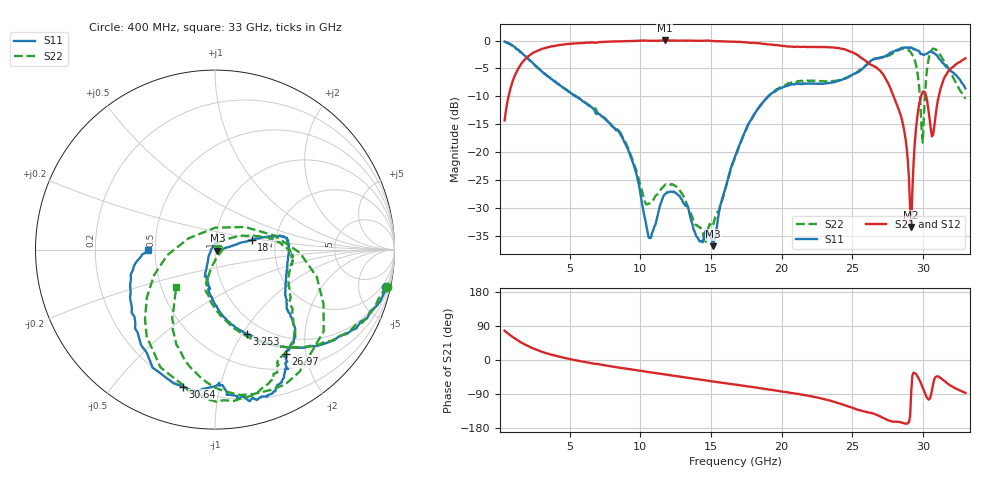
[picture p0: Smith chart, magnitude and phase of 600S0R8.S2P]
!  American Technical Ceramics  Date:  10/26/00
!  One Norden Lane
!  Huntington Station,  NY.  11746-2102
!  Tel:  (631) 622-4700  Fax:  (631) 622-4748
!  Part Number  600S0R8AW  Mounting Orientation: Horizontal
!  Description: Ultra Low ESR Microwave capacitors
!  Application: Coupling, Bypass, Tuning, DC Block
!  Filters, Matching
# GHZ S DB R 50
! Freq  |S11|  S11 Ph  |S21|  S21 Ph  |S12|  S12 Ph  |S22|  S22 Ph
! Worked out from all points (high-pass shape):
!   401 points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, 400 MHz to 33 GHz, reference 50 ohm
!   highest |S21| = 0.01 dB at 11.73 GHz (marker M1); lowest = -33.4 dB at 29.17 GHz (marker M2)
!   |S21| within 3 dB of the highest: 2.002 GHz to 25.57 GHz (23.57 GHz wide, 171 % of centre)
!   lowest |S11| = -36.8 dB at 15.15 GHz (marker M3), VSWR 1.03, Z = 51.3 - j0.652 ohm
!   |S11| at or under -10 dB: 5.422 GHz to 19.08 GHz (13.66 GHz wide, 111 % of centre)
!   |S22| runs from -36.4 to -0.2 dB; largest |S21 - S12| = 0.01
!   S11 on the Smith chart (normalised r, x): 400 MHz: 0.92, -9.07; 3.253 GHz: 0.83, -1.05; 18 GHz: 1.51, +0.17; 26.97 GHz: 0.72, -1.65; 30.64 GHz: 0.20, -0.78; 33 GHz: 0.46, -0.00
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0.4  -0.19 -12.5  -14.30 77.4  -14.31 77.3  -0.17 -12.2
1.46  -1.90 -40.8  -4.66 48.9  -4.65 49.1  -1.96 -40.0
3.253  -5.98 -69.5  -1.33 19.1  -1.34 19.0  -5.98 -71.1
5.861  -10.74 -91.5  -0.46 -3.8  -0.45 -3.8  -10.66 -94.5
8.876  -18.18 -113.9  -0.12 -22.2  -0.14 -22.3  -17.89 -103.2
10.588  -35.28 150.7  -0.05 -31.9  -0.06 -31.9  -29.16 -36.3
11.321  -30.30 91.5  -0.02 -35.6  -0.04 -35.7  -27.20 3.9
11.729  -27.54 80.7  0.01 -38.0  -0.01 -38.0  -25.93 13.6
15.152  -36.82 -26.1  -0.11 -56.8  -0.11 -56.8  -32.96 81.5
16.7  -20.76 12.1  -0.21 -64.7  -0.22 -64.6  -20.94 40.7
18.004  -13.45 14.8  -0.42 -71.6  -0.43 -71.7  -13.45 21.7
22.161  -7.75 -1.7  -1.17 -96.2  -1.15 -96.1  -7.20 -8.3
26.969  -3.06 -55.9  -5.40 -149.0  -5.42 -148.6  -3.08 -58.3
27.621  -2.31 -58.8  -8.11 -160.1  -8.13 -160.1  -2.67 -61.8
28.599  -1.28 -68.3  -15.20 -166.1  -15.19 -166.8  -1.47 -81.2
29.17  -1.24 -77.2  -33.38 -82.8  -32.77 -86.2  -2.29 -104.5
29.659  -1.81 -85.4  -12.51 -46.2  -12.55 -46.5  -6.68 -145.0
29.985  -2.49 -88.1  -9.18 -73.3  -9.23 -73.5  -18.28 89.5
30.311  -2.32 -91.1  -11.06 -100.6  -11.04 -100.4  -4.63 -15.0
30.637  -2.12 -103.1  -17.17 -80.1  -17.00 -80.5  -1.64 -55.4
31.452  -4.07 -135.3  -7.01 -53.7  -6.99 -53.0  -3.53 -102.3
33  -8.56 -179.3  -3.19 -86.8  -3.16 -86.9  -10.44 -136.8
